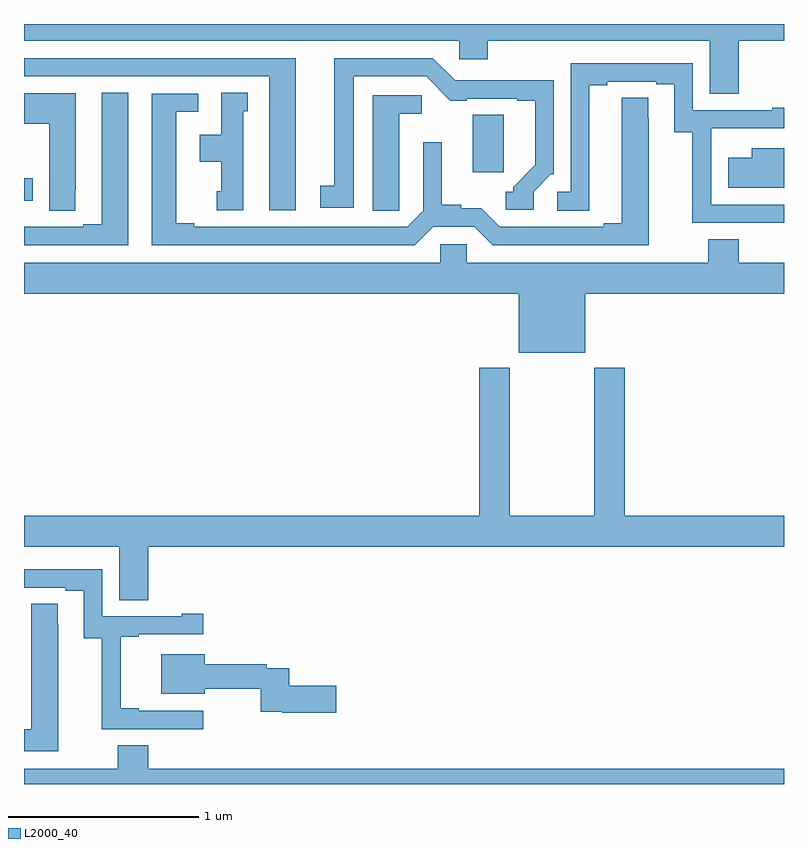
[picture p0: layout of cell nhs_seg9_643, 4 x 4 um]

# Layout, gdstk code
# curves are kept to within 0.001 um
import gdstk
lib = gdstk.Library(unit=1e-6, precision=1e-09)
def R(c, l, rs):  # rectangles x0, y0, x1, y1
    for r in rs: c.add(gdstk.rectangle(r[:2], r[2:], *l))
def P(c, l, *ps):  # polygons
    for p in ps: c.add(gdstk.Polygon(p, *l))
L2000_40 = (2000, 40)

nhs_seg9_643 = lib.new_cell('nhs_seg9_643')
R(nhs_seg9_643, L2000_40, [(143,1203.57,143.047,1203.687)])
P(nhs_seg9_643, L2000_40, [(146.762,1204.412),(147,1204.412),(147,1204.5),(143,1204.5),(143,1204.412),(145.29,1204.412),(145.29,1204.314),(145.442,1204.314),(145.442,1204.412),(146.609,1204.412),(146.609,1204.132),(146.762,1204.132)],
  [(144.43,1204.32),(143,1204.32),(143,1204.224),(144.29,1204.224),(144.29,1203.519),(144.43,1203.519)],
  [(145.683,1203.618),(145.773,1203.708),(145.788,1203.708),(145.788,1204.205),(145.525,1204.205),(145.525,1204.203),(145.269,1204.203),(145.152,1204.32),(144.632,1204.32),(144.632,1203.65),(144.558,1203.65),(144.558,1203.534),(144.736,1203.534),(144.736,1204.224),(145.116,1204.224),(145.244,1204.096),(145.33,1204.096),(145.33,1204.107),(145.595,1204.107),(145.595,1204.095),(145.691,1204.095),(145.691,1203.758),(145.575,1203.642),(145.575,1203.618),(145.536,1203.618),(145.536,1203.522),(145.683,1203.522)],
  [(147,1203.549),(146.616,1203.549),(146.616,1203.95),(146.618,1203.95),(146.618,1203.951),(147,1203.951),(147,1204.06),(146.939,1204.06),(146.939,1204.047),(146.52,1204.047),(146.52,1204.293),(145.878,1204.293),(145.878,1203.618),(145.806,1203.618),(145.806,1203.517),(145.975,1203.517),(145.975,1204.177),(146.071,1204.177),(146.071,1204.197),(146.327,1204.197),(146.327,1204.182),(146.423,1204.182),(146.423,1203.931),(146.518,1203.931),(146.518,1203.453),(147,1203.453)],
  [(144.154,1204.041),(144.178,1204.041),(144.178,1204.139),(144.038,1204.139),(144.038,1203.916),(143.924,1203.916),(143.924,1203.776),(144.038,1203.776),(144.038,1203.621),(144.014,1203.621),(144.014,1203.519),(144.154,1203.519)],
  [(143.548,1204.139),(143.408,1204.139),(143.408,1203.447),(143.312,1203.447),(143.312,1203.432),(143.036,1203.432),(143.036,1203.433),(143,1203.433),(143,1203.336),(143.548,1203.336)],
  [(143.271,1203.625),(143.272,1203.625),(143.272,1204.135),(143,1204.135),(143,1203.976),(143.132,1203.976),(143.132,1203.517),(143.271,1203.517)],
  [(145.153,1203.432),(145.371,1203.432),(145.467,1203.336),(146.287,1203.336),(146.286,1204.112),(146.147,1204.112),(146.147,1203.452),(146.051,1203.452),(146.051,1203.432),(145.503,1203.432),(145.406,1203.53),(145.302,1203.53),(145.302,1203.548),(145.198,1203.548),(145.198,1203.877),(145.101,1203.877),(145.101,1203.516),(145.017,1203.432),(143.896,1203.432),(143.896,1203.452),(143.8,1203.452),(143.8,1204.038),(143.917,1204.038),(143.917,1204.134),(143.672,1204.134),(143.672,1203.336),(145.057,1203.336)],
  [(144.975,1203.625),(144.976,1203.625),(144.976,1204.028),(145.093,1204.028),(145.093,1204.125),(144.836,1204.125),(144.836,1203.517),(144.975,1203.517)],
  [(145.525,1204.022),(145.363,1204.022),(145.363,1203.864),(145.361,1203.864),(145.361,1203.72),(145.525,1203.72)],
  [(147,1203.847),(146.831,1203.847),(146.831,1203.796),(146.706,1203.796),(146.706,1203.638),(147,1203.638)],
  [(145.954,1203.08),(147,1203.08),(147,1203.244),(146.762,1203.244),(146.762,1203.368),(146.602,1203.368),(146.602,1203.244),(145.329,1203.244),(145.329,1203.342),(145.191,1203.342),(145.191,1203.244),(143,1203.244),(143,1203.08),(145.604,1203.08),(145.604,1202.771),(145.954,1202.771)],
  [(143.654,1201.748),(147,1201.748),(147,1201.912),(146.162,1201.912),(146.162,1202.692),(146.002,1202.692),(146.002,1201.912),(145.557,1201.912),(145.557,1202.692),(145.397,1202.692),(145.397,1201.912),(143,1201.912),(143,1201.748),(143.501,1201.748),(143.501,1201.468),(143.654,1201.468)],
  [(143.944,1200.885),(143.605,1200.885),(143.605,1200.898),(143.51,1200.898),(143.51,1201.275),(143.605,1201.275),(143.605,1201.287),(143.944,1201.287),(143.944,1201.396),(143.831,1201.396),(143.831,1201.383),(143.412,1201.383),(143.412,1201.629),(143,1201.629),(143,1201.533),(143.219,1201.533),(143.219,1201.518),(143.315,1201.518),(143.315,1201.267),(143.41,1201.267),(143.41,1200.789),(143.944,1200.789)],
  [(143.179,1201.34),(143.178,1201.34),(143.178,1201.448),(143.039,1201.448),(143.039,1200.788),(143,1200.788),(143,1200.672),(143.179,1200.672)],
  [(144.643,1201.016),(144.395,1201.016),(144.395,1201.11),(144.278,1201.11),(144.278,1201.13),(143.95,1201.13),(143.95,1201.183),(143.723,1201.183),(143.723,1200.974),(143.95,1200.974),(143.95,1201.002),(144.247,1201.002),(144.247,1200.881),(144.358,1200.881),(144.358,1200.874),(144.643,1200.874)],
  [(147,1200.58),(143.654,1200.58),(143.654,1200.704),(143.494,1200.704),(143.494,1200.58),(143,1200.58),(143,1200.5),(147,1200.5)])

lib.write_gds('nhs_seg9_643.gds')
